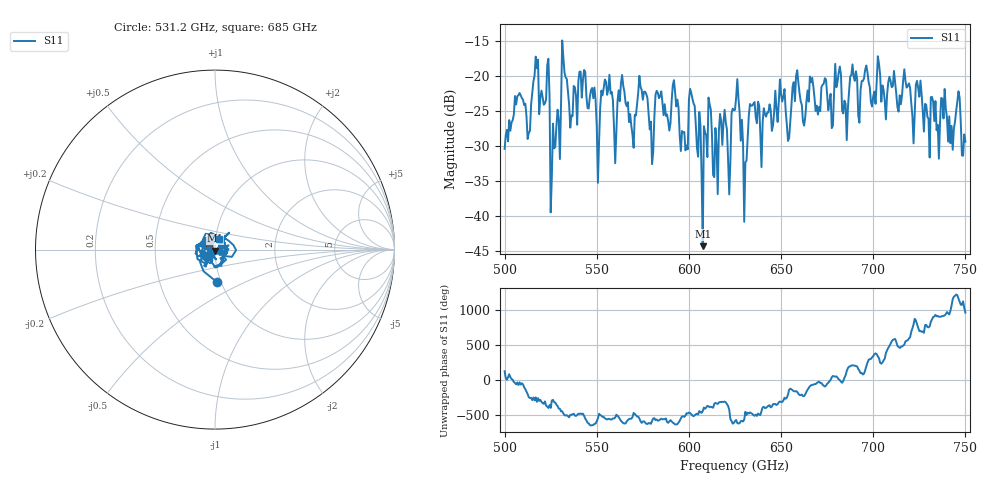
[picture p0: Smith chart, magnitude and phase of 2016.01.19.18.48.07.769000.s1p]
!Created with skrf (http://scikit-rf.org).
# GHz S RI R 50.0
!freq ReS11 ImS11
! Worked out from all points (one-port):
!   401 points, 500 GHz to 750 GHz, reference 50 ohm
!   lowest |S11| = -44.3 dB at 607.5 GHz (marker M1), VSWR 1.01, Z = 50.1 - j0.606 ohm
!   |S11| at or under -10 dB: start of sweep to end of sweep
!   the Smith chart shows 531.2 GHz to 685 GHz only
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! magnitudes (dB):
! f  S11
! 500 GHz  -30.4
! 506.9 GHz  -22.9
! 513.1 GHz  -28.1
! 516.9 GHz  -17.2
! 523.1 GHz  -18.4
! 526.2 GHz  -26.8
! 531.2 GHz  -14.9
! 542.5 GHz  -20.5
! 550.6 GHz  -35.2
! 553.8 GHz  -21.7
! 560 GHz  -32.4
! 562.5 GHz  -23.5
! 574.4 GHz  -21.9
! 580 GHz  -32.5
! 583.1 GHz  -22.3
! 593.8 GHz  -23.3
! 598.1 GHz  -30.6
! 601.9 GHz  -23.2
! 607.5 GHz  -44.3
! 610.6 GHz  -23.0
! 621.9 GHz  -36.9
! 625 GHz  -24.8
! 630.6 GHz  -32.3
! 634.4 GHz  -24.2
! 656.2 GHz  -21.5
! 687.5 GHz  -20.0
! 718.8 GHz  -21.4
! 750 GHz  -29.3
